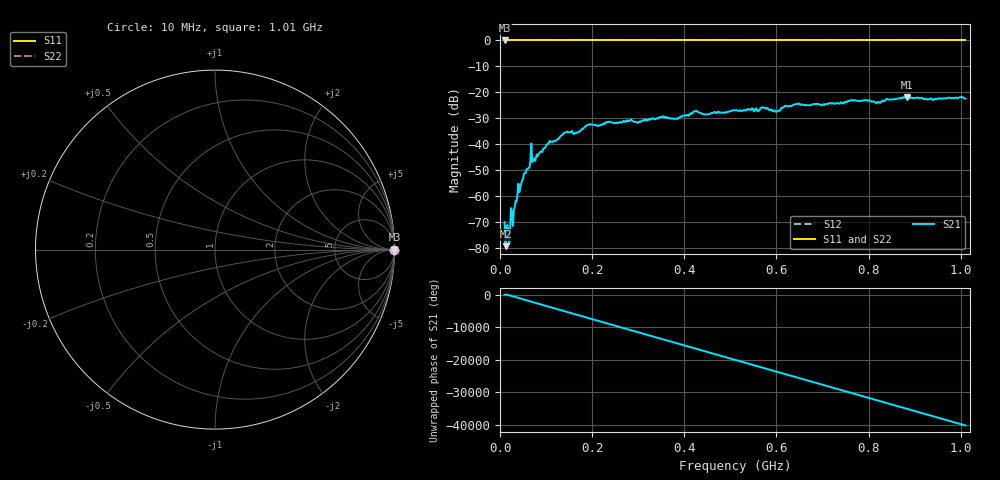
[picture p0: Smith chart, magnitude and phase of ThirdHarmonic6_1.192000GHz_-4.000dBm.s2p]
! 8/16/2025 12:15:40 PM
! C:\ANRITSUVNA\TEMP\TEMP.S2P
! CHANNEL.1
! TR.MEASUREMENT
! RAW.DATA
! RF.CORRECTION.OFF
! AVERAGING.OFF
! IF.BANDWIDTH: 5KHZ
! SWEEPTYPE:  FREQ.SWEEP(Linear)
! Reference Plane Port Info
! PORT:  PORT1  PORT2
! DISTANCE:  0  m  0  m
! TIME:  0  s  0  s
! PHASE.OFFSET:  0  deg.  0  deg.
! LOSS:  0  dB  0  dB
! REF.LOSS:  0  dB  0  dB
! REF.FREQ:  0  Hz  0  Hz
! Power Info
! POWER:  -20  dBm  -20  dBm
! EFF.POWER:  -20  dBm  -20  dBm
! SOURCE.ATTEN:  0  dB  0  dB
! TEST.ATTEN:  0  dB  0  dB
# GHZ S RI R 50.0
! FREQ.GHZ  S11RE  S11IM  S21RE  S21IM  S12RE  S12IM  S22RE  S22IM
!; PortSelection: Port_12
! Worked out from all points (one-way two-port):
!   501 points, 10 MHz to 1.01 GHz, reference 50 ohm
!   highest |S21| = -21.75 dB at 884 MHz (marker M1); lowest = -79.3 dB at 12 MHz (marker M2)
!   lowest |S11| = 0.0 dB at 10 MHz (marker M3)
!   |S11| at or under -10 dB: nowhere
!   |S22| runs from 0.0 to 0.0 dB; largest |S21 - S12| = 1.1
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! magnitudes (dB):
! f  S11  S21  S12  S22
! 10 MHz  0.0  -70.0  0.0  0.0
! 12 MHz  0.0  -79.3  0.0  0.0
! 16 MHz  0.0  -71.1  0.0  0.0
! 24 MHz  0.0  -64.6  0.0  0.0
! 28 MHz  0.0  -71.5  0.0  0.0
! 32 MHz  0.0  -64.2  0.0  0.0
! 42 MHz  0.0  -58.4  0.0  0.0
! 70 MHz  0.0  -46.9  0.0  0.0
! 74 MHz  0.0  -45.7  0.0  0.0
! 104 MHz  0.0  -39.9  0.0  0.0
! 142 MHz  0.0  -35.5  0.0  0.0
! 178 MHz  0.0  -34.1  0.0  0.0
! 196 MHz  0.0  -32.3  0.0  0.0
! 344 MHz  0.0  -30.1  0.0  0.0
! 510 MHz  0.0  -27.0  0.0  0.0
! 572 MHz  0.0  -25.9  0.0  0.0
! 602 MHz  0.0  -27.1  0.0  0.0
! 644 MHz  0.0  -24.5  0.0  0.0
! 678 MHz  0.0  -24.6  0.0  0.0
! 844 MHz  0.0  -22.9  0.0  0.0
! 884 MHz  0.0  -21.8  0.0  0.0
! 1.01 GHz  0.0  -22.4  0.0  0.0
